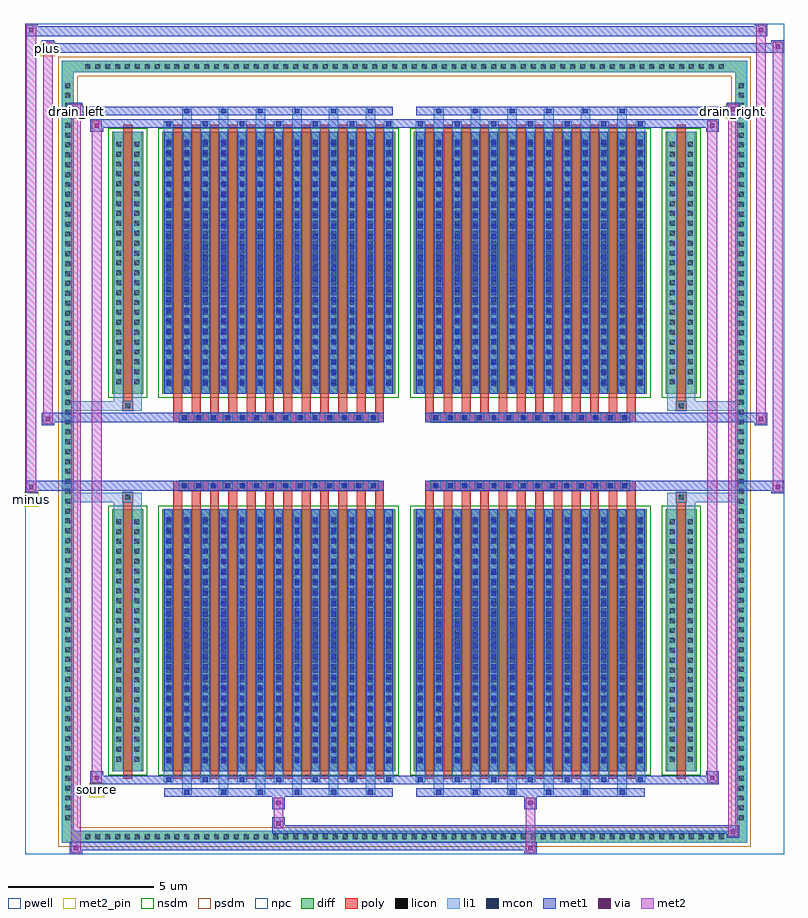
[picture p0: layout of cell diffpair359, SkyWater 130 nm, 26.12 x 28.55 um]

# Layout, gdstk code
import gdstk
lib = gdstk.Library(unit=1e-6, precision=5e-09)
def R(c, l, rs):  # rectangles x0, y0, x1, y1
    for r in rs: c.add(gdstk.rectangle(r[:2], r[2:], *l))
def A(c, l, x, y, w, h, nx, ny, dx, dy):  # array of equal rectangles
    R(c, l, [(x+i*dx, y+j*dy, x+i*dx+w, y+j*dy+h) for i in range(nx) for j in range(ny)])
def P(c, l, *ps):  # polygons
    for p in ps: c.add(gdstk.Polygon(p, *l))
pwell = (64, 44)
diff = (65, 20)
poly = (66, 20)
licon = (66, 44)
li1 = (67, 20)
mcon = (67, 44)
met1 = (68, 20)
via = (68, 44)
met2_pin = (69, 16)
met2 = (69, 20)
nsdm = (93, 44)
psdm = (94, 20)
npc = (95, 20)

diffpair359 = lib.new_cell('diffpair359')
R(diffpair359, pwell, [(-13.04,-13.84,13.04,14.71), (-10.36,-12.03,-0.01,-0.805), (0.01,-12.03,10.36,-0.805), (-10.36,0.805,-0.01,12.03), (0.01,0.805,10.36,12.03)])
A(diffpair359, diff, -11.085, -13.44, 0.41, 0.41, 65, 2, 0.34, 26.47)
A(diffpair359, diff, -11.77, -12.785, 0.41, 0.41, 1, 75, 0, 0.34)
A(diffpair359, diff, 11.36, -12.785, 0.41, 0.41, 1, 75, 0, 0.34)
R(diffpair359, diff, [(-11.085,-13.44,11.085,-13.03), (-11.77,-12.785,-11.36,12.785), (11.36,-12.785,11.77,12.785), (-10.05,-10.985,-8.97,-1.985), (-8.33,-10.985,-0.32,-1.985), (0.32,-10.985,8.33,-1.985), (8.97,-10.985,10.05,-1.985), (-10.05,1.985,-8.97,10.985), (-8.33,1.985,-0.32,10.985), (0.32,1.985,8.33,10.985), (8.97,1.985,10.05,10.985), (-11.085,13.03,11.085,13.44)])
P(diffpair359, diff, [(11.77,13.44),(-11.77,13.44),(-11.77,-13.03),(-11.36,-13.03),(-11.36,13.03),(11.36,13.03),(11.36,-13.03),(-11.36,-13.03),(-11.77,-13.03),(-11.77,-13.44),(11.77,-13.44)])
A(diffpair359, poly, -7.94, -11.235, 0.3, 9.5, 12, 2, 0.63, 12.97)
A(diffpair359, poly, 0.71, -11.235, 0.3, 9.5, 12, 2, 0.63, 12.97)
A(diffpair359, poly, -7.94, -1.735, 0.3, 0.4, 12, 2, 0.63, 3.07)
A(diffpair359, poly, 0.71, -1.735, 0.3, 0.4, 12, 2, 0.63, 3.07)
A(diffpair359, poly, -7.74, -1.335, 0.33, 0.33, 14, 2, 0.5, 2.34)
A(diffpair359, poly, 0.91, -1.335, 0.33, 0.33, 14, 2, 0.5, 2.34)
R(diffpair359, poly, [(-9.66,-11.235,-9.36,-1.735), (9.36,-11.235,9.66,-1.735), (-9.675,-1.735,-9.345,-1.405), (-9.675,-1.735,-9.345,-1.405), (9.345,-1.735,9.675,-1.405), (9.345,-1.735,9.675,-1.405), (-7.94,-1.335,-0.71,-1.005), (0.71,-1.335,7.94,-1.005), (-7.94,1.005,-0.71,1.335), (0.71,1.005,7.94,1.335), (-9.675,1.405,-9.345,1.735), (-9.675,1.405,-9.345,1.735), (9.345,1.405,9.675,1.735), (9.345,1.405,9.675,1.735), (-9.66,1.735,-9.36,11.235), (9.36,1.735,9.66,11.235)])
A(diffpair359, licon, -10.965, -13.32, 0.17, 0.17, 65, 2, 0.34, 26.47)
A(diffpair359, licon, -11.65, -12.665, 0.17, 0.17, 1, 75, 0, 0.34)
A(diffpair359, licon, 11.48, -12.665, 0.17, 0.17, 1, 75, 0, 0.34)
A(diffpair359, licon, -9.91, -10.65, 0.17, 0.17, 1, 25, 0, 0.34)
A(diffpair359, licon, -9.28, -10.65, 0.17, 0.17, 1, 25, 0, 0.34)
A(diffpair359, licon, -8.19, -10.65, 0.17, 0.17, 13, 25, 0.63, 0.34)
A(diffpair359, licon, 0.46, -10.65, 0.17, 0.17, 13, 25, 0.63, 0.34)
A(diffpair359, licon, 9.11, -10.65, 0.17, 0.17, 1, 25, 0, 0.34)
A(diffpair359, licon, 9.74, -10.65, 0.17, 0.17, 1, 25, 0, 0.34)
A(diffpair359, licon, -7.66, -1.255, 0.17, 0.17, 14, 2, 0.5, 2.34)
A(diffpair359, licon, 0.99, -1.255, 0.17, 0.17, 14, 2, 0.5, 2.34)
A(diffpair359, licon, -9.91, 2.32, 0.17, 0.17, 1, 25, 0, 0.34)
A(diffpair359, licon, -9.28, 2.32, 0.17, 0.17, 1, 25, 0, 0.34)
A(diffpair359, licon, -8.19, 2.32, 0.17, 0.17, 13, 25, 0.63, 0.34)
A(diffpair359, licon, 0.46, 2.32, 0.17, 0.17, 13, 25, 0.63, 0.34)
A(diffpair359, licon, 9.11, 2.32, 0.17, 0.17, 1, 25, 0, 0.34)
A(diffpair359, licon, 9.74, 2.32, 0.17, 0.17, 1, 25, 0, 0.34)
R(diffpair359, licon, [(-9.595,-1.655,-9.425,-1.485), (9.425,-1.655,9.595,-1.485), (-9.595,1.485,-9.425,1.655), (9.425,1.485,9.595,1.655)])
A(diffpair359, li1, -11.045, -13.4, 0.33, 0.33, 65, 2, 0.34, 26.47)
A(diffpair359, li1, -11.73, -12.745, 0.33, 0.33, 1, 75, 0, 0.34)
A(diffpair359, li1, 11.4, -12.745, 0.33, 0.33, 1, 75, 0, 0.34)
A(diffpair359, li1, -7.64, -11.79, 0.33, 0.805, 6, 2, 1.26, 22.775)
A(diffpair359, li1, -7.56, -11.79, 0.17, 0.17, 6, 2, 1.26, 23.41)
A(diffpair359, li1, 1.01, -11.79, 0.33, 0.805, 6, 2, 1.26, 22.775)
A(diffpair359, li1, 1.09, -11.79, 0.17, 0.17, 6, 2, 1.26, 23.41)
A(diffpair359, li1, -8.27, -11.36, 0.33, 0.375, 7, 2, 1.26, 22.345)
A(diffpair359, li1, -8.19, -11.36, 0.17, 0.17, 7, 2, 1.26, 22.55)
A(diffpair359, li1, 0.38, -11.36, 0.33, 0.375, 7, 2, 1.26, 22.345)
A(diffpair359, li1, 0.46, -11.36, 0.17, 0.17, 7, 2, 1.26, 22.55)
A(diffpair359, li1, -8.27, -10.985, 0.33, 9, 13, 2, 0.63, 12.97)
A(diffpair359, li1, 0.38, -10.985, 0.33, 9, 13, 2, 0.63, 12.97)
A(diffpair359, li1, -9.99, -10.73, 0.33, 0.33, 1, 25, 0, 0.34)
A(diffpair359, li1, -9.36, -10.73, 0.33, 0.33, 1, 25, 0, 0.34)
A(diffpair359, li1, -8.27, -10.73, 0.33, 0.33, 13, 25, 0.63, 0.34)
A(diffpair359, li1, 0.38, -10.73, 0.33, 0.33, 13, 25, 0.63, 0.34)
A(diffpair359, li1, 9.03, -10.73, 0.33, 0.33, 1, 25, 0, 0.34)
A(diffpair359, li1, 9.66, -10.73, 0.33, 0.33, 1, 25, 0, 0.34)
A(diffpair359, li1, -8.19, -10.71, 0.17, 0.17, 13, 24, 0.63, 0.36)
A(diffpair359, li1, -8.19, -10.71, 0.17, 8.45, 13, 2, 0.63, 12.97)
A(diffpair359, li1, 0.46, -10.71, 0.17, 0.17, 13, 24, 0.63, 0.36)
A(diffpair359, li1, 0.46, -10.71, 0.17, 8.45, 13, 2, 0.63, 12.97)
A(diffpair359, li1, -7.74, -1.335, 0.33, 0.33, 14, 2, 0.5, 2.34)
A(diffpair359, li1, 0.91, -1.335, 0.33, 0.33, 14, 2, 0.5, 2.34)
A(diffpair359, li1, -9.99, 2.24, 0.33, 0.33, 1, 25, 0, 0.34)
A(diffpair359, li1, -9.36, 2.24, 0.33, 0.33, 1, 25, 0, 0.34)
A(diffpair359, li1, -8.27, 2.24, 0.33, 0.33, 13, 25, 0.63, 0.34)
A(diffpair359, li1, 0.38, 2.24, 0.33, 0.33, 13, 25, 0.63, 0.34)
A(diffpair359, li1, 9.03, 2.24, 0.33, 0.33, 1, 25, 0, 0.34)
A(diffpair359, li1, 9.66, 2.24, 0.33, 0.33, 1, 25, 0, 0.34)
A(diffpair359, li1, -8.19, 2.26, 0.17, 0.17, 13, 24, 0.63, 0.36)
A(diffpair359, li1, 0.46, 2.26, 0.17, 0.17, 13, 24, 0.63, 0.36)
R(diffpair359, li1, [(-11.77,-13.44,-11.36,-13.03), (-11.77,-13.44,-11.36,-13.03), (-11.36,-13.44,11.36,-13.03), (11.36,-13.44,11.77,-13.03), (11.36,-13.44,11.77,-13.03), (-11.77,-13.03,-11.36,13.03), (11.36,-13.03,11.77,13.03), (-9.99,-10.985,-9.66,-1.985), (-9.36,-10.985,-9.03,-1.985), (9.03,-10.985,9.36,-1.985), (9.66,-10.985,9.99,-1.985), (-9.99,-1.985,-9.66,-1.405), (-9.36,-1.985,-9.03,-1.405), (9.03,-1.985,9.36,-1.405), (9.66,-1.985,9.99,-1.405), (-11.77,-1.735,-9.675,-1.405), (-9.99,-1.735,-9.675,-1.405), (-9.675,-1.735,-9.345,-1.405), (-9.345,-1.735,-9.03,-1.405), (9.03,-1.735,9.345,-1.405), (9.345,-1.735,9.675,-1.405), (9.345,-1.735,11.77,-1.405), (9.675,-1.735,9.99,-1.405), (-11.77,1.405,-9.675,1.735), (-9.99,1.405,-9.675,1.735), (-9.99,1.405,-9.66,1.985), (-9.675,1.405,-9.345,1.735), (-9.36,1.405,-9.03,1.985), (-9.345,1.405,-9.03,1.735), (9.03,1.405,9.345,1.735), (9.03,1.405,9.36,1.985), (9.345,1.405,9.675,1.735), (9.345,1.405,11.77,1.735), (9.66,1.405,9.99,1.985), (9.675,1.405,9.99,1.735), (-9.99,1.985,-9.66,10.985), (-9.36,1.985,-9.03,10.985), (9.03,1.985,9.36,10.985), (9.66,1.985,9.99,10.985), (-11.77,13.03,-11.36,13.44), (-11.77,13.03,-11.36,13.44), (-11.36,13.03,11.36,13.44), (11.36,13.03,11.77,13.44), (11.36,13.03,11.77,13.44)])
A(diffpair359, mcon, -7.56, -11.79, 0.17, 0.17, 6, 2, 1.26, 23.41)
A(diffpair359, mcon, 1.09, -11.79, 0.17, 0.17, 6, 2, 1.26, 23.41)
A(diffpair359, mcon, -8.19, -11.36, 0.17, 0.17, 7, 2, 1.26, 22.55)
A(diffpair359, mcon, 0.46, -11.36, 0.17, 0.17, 7, 2, 1.26, 22.55)
A(diffpair359, mcon, -8.19, -10.71, 0.17, 0.17, 13, 24, 0.63, 0.36)
A(diffpair359, mcon, 0.46, -10.71, 0.17, 0.17, 13, 24, 0.63, 0.36)
A(diffpair359, mcon, -7.66, -1.255, 0.17, 0.17, 14, 2, 0.5, 2.34)
A(diffpair359, mcon, 0.99, -1.255, 0.17, 0.17, 14, 2, 0.5, 2.34)
A(diffpair359, mcon, -8.19, 2.26, 0.17, 0.17, 13, 24, 0.63, 0.36)
A(diffpair359, mcon, 0.46, 2.26, 0.17, 0.17, 13, 24, 0.63, 0.36)
A(diffpair359, met1, -7.62, -11.85, 0.29, 0.29, 6, 2, 1.26, 23.41)
A(diffpair359, met1, 1.03, -11.85, 0.29, 0.29, 6, 2, 1.26, 23.41)
A(diffpair359, met1, -8.25, -11.42, 0.29, 0.29, 7, 2, 1.26, 22.55)
A(diffpair359, met1, 0.4, -11.42, 0.29, 0.29, 7, 2, 1.26, 22.55)
A(diffpair359, met1, -8.25, -10.985, 0.29, 9, 13, 2, 0.63, 12.97)
A(diffpair359, met1, 0.4, -10.985, 0.29, 9, 13, 2, 0.63, 12.97)
A(diffpair359, met1, -8.25, -10.77, 0.29, 0.29, 13, 24, 0.63, 0.36)
A(diffpair359, met1, 0.4, -10.77, 0.29, 0.29, 13, 24, 0.63, 0.36)
A(diffpair359, met1, -7.72, -1.315, 0.29, 0.29, 14, 2, 0.5, 2.34)
A(diffpair359, met1, 0.93, -1.315, 0.29, 0.29, 14, 2, 0.5, 2.34)
A(diffpair359, met1, -8.25, 2.2, 0.29, 0.29, 13, 24, 0.63, 0.36)
A(diffpair359, met1, 0.4, 2.2, 0.29, 0.29, 13, 24, 0.63, 0.36)
R(diffpair359, met1, [(-11.5,-13.84,-11.07,-13.41), (4.11,-13.84,4.54,-13.41), (-11.5,-13.7,4.54,-13.41), (11.07,-13.27,11.5,-12.84), (-4.54,-13.13,11.5,-12.84), (-4.54,-12.99,-4.11,-12.56), (-4.54,-12.28,-4.11,-11.85), (4.11,-12.28,4.54,-11.85), (-8.25,-11.85,-0.4,-11.56), (0.4,-11.85,8.25,-11.56), (-10.79,-11.42,-10.36,-10.99), (-10.79,-11.42,-8.25,-11.13), (-8.25,-11.42,-0.4,-11.13), (-0.4,-11.42,0.4,-11.13), (0.4,-11.42,8.25,-11.13), (8.25,-11.42,10.79,-11.13), (10.36,-11.42,10.79,-10.99), (-13.04,-1.435,-12.61,-1.005), (12.61,-1.435,13.04,-1.005), (-13.04,-1.335,-0.71,-1.005), (-7.94,-1.335,-0.71,-1.005), (0.71,-1.335,7.94,-1.005), (0.71,-1.335,13.04,-1.005), (-12.47,0.905,-12.04,1.335), (12.04,0.905,12.47,1.335), (-12.47,1.005,-7.94,1.335), (-7.94,1.005,-0.71,1.335), (0.71,1.005,7.94,1.335), (7.94,1.005,12.47,1.335), (-10.79,10.99,-10.36,11.42), (10.36,10.99,10.79,11.42), (-10.79,11.13,-8.25,11.42), (-8.25,11.13,-0.4,11.42), (-0.4,11.13,0.4,11.42), (0.4,11.13,8.25,11.42), (8.25,11.13,10.79,11.42), (-11.5,11.56,-11.07,11.99), (-11.5,11.56,-8.25,11.85), (-8.25,11.56,-0.4,11.85), (0.4,11.56,8.25,11.85), (8.25,11.56,11.5,11.85), (11.07,11.56,11.5,11.99), (-12.47,13.71,-12.04,14.14), (-12.47,13.71,-10.36,14.04), (-10.36,13.71,10.36,14.04), (10.36,13.71,13.04,14.04), (12.61,13.71,13.04,14.14), (-13.04,14.28,-12.61,14.71), (-13.04,14.28,-10.36,14.61), (-10.36,14.28,10.36,14.61), (10.36,14.28,12.47,14.61), (12.04,14.28,12.47,14.71)])
R(diffpair359, via, [(-11.36,-13.7,-11.21,-13.55), (4.25,-13.7,4.4,-13.55), (11.21,-13.13,11.36,-12.98), (-4.4,-12.85,-4.25,-12.7), (-4.4,-12.14,-4.25,-11.99), (4.25,-12.14,4.4,-11.99), (-10.65,-11.28,-10.5,-11.13), (10.5,-11.28,10.65,-11.13), (-12.9,-1.295,-12.75,-1.145), (12.75,-1.295,12.9,-1.145), (-12.33,1.045,-12.18,1.195), (12.18,1.045,12.33,1.195), (-10.65,11.13,-10.5,11.28), (10.5,11.13,10.65,11.28), (-11.36,11.7,-11.21,11.85), (11.21,11.7,11.36,11.85), (-12.33,13.85,-12.18,14), (12.75,13.85,12.9,14), (-12.9,14.42,-12.75,14.57), (12.18,14.42,12.33,14.57)])
R(diffpair359, met2_pin, [(-10.825,-11.87,-10.325,-11.37), (-13.075,-1.885,-12.575,-1.385), (-11.535,11.44,-11.035,11.94), (11.035,11.44,11.535,11.94), (-12.505,13.59,-12.005,14.09)])
R(diffpair359, met2, [(-11.45,-13.79,-11.12,-13.46), (-11.45,-13.79,-11.12,11.94), (4.16,-13.79,4.49,-13.46), (4.16,-13.46,4.49,-12.23), (11.12,-13.22,11.45,-12.89), (11.12,-13.22,11.45,11.94), (-4.49,-12.94,-4.16,-12.61), (-4.49,-12.61,-4.16,-12.23), (-4.49,-12.23,-4.16,-11.9), (4.16,-12.23,4.49,-11.9), (-10.74,-11.37,-10.41,-11.04), (-10.74,-11.37,-10.41,11.37), (10.41,-11.37,10.74,-11.04), (10.41,-11.37,10.74,11.37), (-12.99,-1.385,-12.66,-1.055), (-12.99,-1.385,-12.66,14.66), (12.66,-1.385,12.99,-1.055), (12.66,-1.385,12.99,14.09), (-12.42,0.955,-12.09,1.285), (-12.42,0.955,-12.09,14.09), (12.09,0.955,12.42,1.285), (12.09,0.955,12.42,14.66), (-10.74,11.04,-10.41,11.37), (10.41,11.04,10.74,11.37), (-11.45,11.61,-11.12,11.94), (11.12,11.61,11.45,11.94), (-12.42,13.76,-12.09,14.09), (12.66,13.76,12.99,14.09), (-12.99,14.33,-12.66,14.66), (12.09,14.33,12.42,14.66)])
P(diffpair359, met2, [(12.99,-1.385),(12.99,-1.385),(12.99,-1.055),(12.99,-1.055)],
  [(12.99,13.76),(12.99,13.76),(12.99,14.09),(12.99,14.09)],
  [(-12.66,-1.385),(-12.66,-1.385),(-12.66,-1.055),(-12.66,-1.055)],
  [(-12.66,14.33),(-12.66,14.33),(-12.66,14.66),(-12.66,14.66)],
  [(12.42,0.955),(12.42,0.955),(12.42,1.285),(12.42,1.285)],
  [(12.42,14.33),(12.42,14.33),(12.42,14.66),(12.42,14.66)],
  [(-12.09,0.955),(-12.09,0.955),(-12.09,1.285),(-12.09,1.285)],
  [(-12.09,13.76),(-12.09,13.76),(-12.09,14.09),(-12.09,14.09)],
  [(-11.12,-13.79),(-11.12,-13.79),(-11.12,-13.46),(-11.12,-13.46)],
  [(-11.12,11.61),(-11.12,11.61),(-11.12,11.94),(-11.12,11.94)],
  [(11.45,-13.22),(11.45,-13.22),(11.45,-12.89),(11.45,-12.89)],
  [(11.45,11.61),(11.45,11.61),(11.45,11.94),(11.45,11.94)],
  [(-10.41,-11.37),(-10.41,-11.37),(-10.41,-11.04),(-10.41,-11.04)],
  [(-10.41,11.04),(-10.41,11.04),(-10.41,11.37),(-10.41,11.37)],
  [(10.74,-11.37),(10.74,-11.37),(10.74,-11.04),(10.74,-11.04)],
  [(10.74,11.04),(10.74,11.04),(10.74,11.37),(10.74,11.37)])
R(diffpair359, nsdm, [(-10.18,-11.115,-8.84,-1.855), (-8.46,-11.115,-0.19,-1.855), (0.19,-11.115,8.46,-1.855), (8.84,-11.115,10.18,-1.855), (-10.18,1.855,-8.84,11.115), (-8.46,1.855,-0.19,11.115), (0.19,1.855,8.46,11.115), (8.84,1.855,10.18,11.115)])
P(diffpair359, psdm, [(11.9,13.57),(-11.9,13.57),(-11.9,-12.9),(-11.23,-12.9),(-11.23,12.9),(11.23,12.9),(11.23,-12.9),(-11.23,-12.9),(-11.9,-12.9),(-11.9,-13.57),(11.9,-13.57)])
A(diffpair359, npc, -7.76, -1.355, 0.37, 0.37, 14, 2, 0.5, 2.34)
A(diffpair359, npc, 0.89, -1.355, 0.37, 0.37, 14, 2, 0.5, 2.34)
R(diffpair359, npc, [(-9.695,-1.755,-9.325,-1.385), (9.325,-1.755,9.695,-1.385), (-7.76,-1.355,-6.89,-0.985), (-7.76,-1.355,-6.89,-0.985), (-7.26,-1.355,-6.39,-0.985), (-7.26,-1.355,-6.39,-0.985), (-6.76,-1.355,-5.89,-0.985), (-6.76,-1.355,-5.89,-0.985), (-6.26,-1.355,-5.39,-0.985), (-6.26,-1.355,-5.39,-0.985), (-5.76,-1.355,-4.89,-0.985), (-5.76,-1.355,-4.89,-0.985), (-5.26,-1.355,-4.39,-0.985), (-5.26,-1.355,-4.39,-0.985), (-4.76,-1.355,-3.89,-0.985), (-4.76,-1.355,-3.89,-0.985), (-4.26,-1.355,-3.39,-0.985), (-4.26,-1.355,-3.39,-0.985), (-3.76,-1.355,-2.89,-0.985), (-3.76,-1.355,-2.89,-0.985), (-3.26,-1.355,-2.39,-0.985), (-3.26,-1.355,-2.39,-0.985), (-2.76,-1.355,-1.89,-0.985), (-2.76,-1.355,-1.89,-0.985), (-2.26,-1.355,-1.39,-0.985), (-2.26,-1.355,-1.39,-0.985), (-1.76,-1.355,-0.89,-0.985), (-1.76,-1.355,-0.89,-0.985), (0.89,-1.355,1.76,-0.985), (0.89,-1.355,1.76,-0.985), (1.39,-1.355,2.26,-0.985), (1.39,-1.355,2.26,-0.985), (1.89,-1.355,2.76,-0.985), (1.89,-1.355,2.76,-0.985), (2.39,-1.355,3.26,-0.985), (2.39,-1.355,3.26,-0.985), (2.89,-1.355,3.76,-0.985), (2.89,-1.355,3.76,-0.985), (3.39,-1.355,4.26,-0.985), (3.39,-1.355,4.26,-0.985), (3.89,-1.355,4.76,-0.985), (3.89,-1.355,4.76,-0.985), (4.39,-1.355,5.26,-0.985), (4.39,-1.355,5.26,-0.985), (4.89,-1.355,5.76,-0.985), (4.89,-1.355,5.76,-0.985), (5.39,-1.355,6.26,-0.985), (5.39,-1.355,6.26,-0.985), (5.89,-1.355,6.76,-0.985), (5.89,-1.355,6.76,-0.985), (6.39,-1.355,7.26,-0.985), (6.39,-1.355,7.26,-0.985), (6.89,-1.355,7.76,-0.985), (6.89,-1.355,7.76,-0.985), (-7.76,0.985,-6.89,1.355), (-7.76,0.985,-6.89,1.355), (-7.26,0.985,-6.39,1.355), (-7.26,0.985,-6.39,1.355), (-6.76,0.985,-5.89,1.355), (-6.76,0.985,-5.89,1.355), (-6.26,0.985,-5.39,1.355), (-6.26,0.985,-5.39,1.355), (-5.76,0.985,-4.89,1.355), (-5.76,0.985,-4.89,1.355), (-5.26,0.985,-4.39,1.355), (-5.26,0.985,-4.39,1.355), (-4.76,0.985,-3.89,1.355), (-4.76,0.985,-3.89,1.355), (-4.26,0.985,-3.39,1.355), (-4.26,0.985,-3.39,1.355), (-3.76,0.985,-2.89,1.355), (-3.76,0.985,-2.89,1.355), (-3.26,0.985,-2.39,1.355), (-3.26,0.985,-2.39,1.355), (-2.76,0.985,-1.89,1.355), (-2.76,0.985,-1.89,1.355), (-2.26,0.985,-1.39,1.355), (-2.26,0.985,-1.39,1.355), (-1.76,0.985,-0.89,1.355), (-1.76,0.985,-0.89,1.355), (0.89,0.985,1.76,1.355), (0.89,0.985,1.76,1.355), (1.39,0.985,2.26,1.355), (1.39,0.985,2.26,1.355), (1.89,0.985,2.76,1.355), (1.89,0.985,2.76,1.355), (2.39,0.985,3.26,1.355), (2.39,0.985,3.26,1.355), (2.89,0.985,3.76,1.355), (2.89,0.985,3.76,1.355), (3.39,0.985,4.26,1.355), (3.39,0.985,4.26,1.355), (3.89,0.985,4.76,1.355), (3.89,0.985,4.76,1.355), (4.39,0.985,5.26,1.355), (4.39,0.985,5.26,1.355), (4.89,0.985,5.76,1.355), (4.89,0.985,5.76,1.355), (5.39,0.985,6.26,1.355), (5.39,0.985,6.26,1.355), (5.89,0.985,6.76,1.355), (5.89,0.985,6.76,1.355), (6.39,0.985,7.26,1.355), (6.39,0.985,7.26,1.355), (6.89,0.985,7.76,1.355), (6.89,0.985,7.76,1.355), (-9.695,1.385,-9.325,1.755), (9.325,1.385,9.695,1.755)])
diffpair359.add(gdstk.Label('minus', (-12.825,-1.635), layer=69, texttype=5))
diffpair359.add(gdstk.Label('drain_right', (11.285,11.69), layer=69, texttype=5))
diffpair359.add(gdstk.Label('drain_left', (-11.285,11.69), layer=69, texttype=5))
diffpair359.add(gdstk.Label('source', (-10.575,-11.62), layer=69, texttype=5))
diffpair359.add(gdstk.Label('plus', (-12.255,13.84), layer=69, texttype=5))

lib.write_gds('diffpair359.gds')
